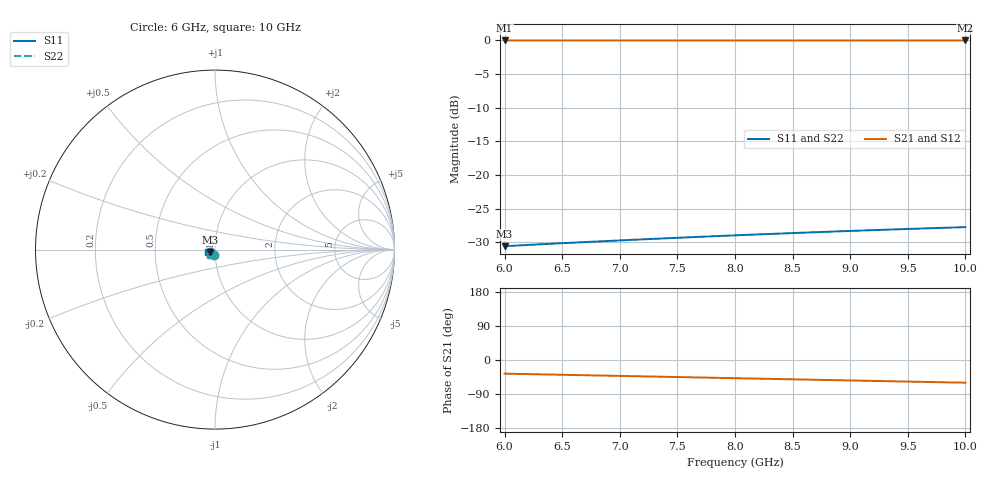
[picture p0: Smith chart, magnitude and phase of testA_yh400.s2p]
! Touchstone file exported from HFSS 2024.2.0
!  File:  C:/Users/artho/Documents/Ansoft/ansys_testA.aedt
!  Generated:  01:04:51 AM Sep  7, 2026
!  Design:  HFSS_9FI
!  Project:  ansys_testA
!  Setup:  Setup1
!  Solution:  Sweep1
!Data is not renormalized
# GHz S MA
! Terminal data exported
! Port[1] = p1
! Port[2] = p2
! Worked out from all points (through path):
!   41 points, 6 GHz to 10 GHz, reference per port
!   highest |S21| = 0.00 dB at 6 GHz (marker M1); lowest = 0.0 dB at 10 GHz (marker M2)
!   group delay of S21, straight-line fit = 16.7 ps
!   lowest |S11| = -30.6 dB at 6 GHz (marker M3), VSWR 1.06
!   |S11| at or under -10 dB: start of sweep to end of sweep
!   |S22| runs from -30.6 to -27.7 dB; largest |S21 - S12| = 1.7e-14
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6  0.02964 -153.3  0.9996 -36.0  0.9996 -36.0  0.02964 -98.7
6.1  0.02995 -153.4  0.9996 -36.6  0.9996 -36.6  0.02995 -99.8
6.3  0.03057 -153.6  0.9995 -37.8  0.9995 -37.8  0.03057 -102.0
6.5  0.03118 -153.9  0.9995 -39.0  0.9995 -39.0  0.03118 -104.1
6.7  0.0318 -154.2  0.9995 -40.2  0.9995 -40.2  0.0318 -106.2
7  0.03271 -154.7  0.9995 -42.0  0.9995 -42.0  0.03271 -109.3
7.2  0.03331 -155.0  0.9994 -43.2  0.9994 -43.2  0.03331 -111.3
7.4  0.03391 -155.5  0.9994 -44.4  0.9994 -44.4  0.03391 -113.3
7.7  0.03479 -156.1  0.9994 -46.2  0.9994 -46.2  0.03479 -116.3
8  0.03567 -156.8  0.9994 -48.0  0.9994 -48.0  0.03567 -119.1
8.2  0.03624 -157.3  0.9993 -49.2  0.9993 -49.2  0.03624 -121.0
8.4  0.03681 -157.8  0.9993 -50.4  0.9993 -50.4  0.03681 -122.9
8.6  0.03737 -158.4  0.9993 -51.6  0.9993 -51.6  0.03737 -124.8
8.7  0.03765 -158.7  0.9993 -52.2  0.9993 -52.2  0.03765 -125.7
8.9  0.03819 -159.2  0.9993 -53.4  0.9993 -53.4  0.03819 -127.5
9.1  0.03873 -159.8  0.9992 -54.6  0.9992 -54.6  0.03873 -129.3
9.3  0.03926 -160.4  0.9992 -55.8  0.9992 -55.8  0.03926 -131.1
9.4  0.03953 -160.7  0.9992 -56.4  0.9992 -56.4  0.03953 -132.0
9.6  0.04005 -161.4  0.9992 -57.6  0.9992 -57.6  0.04005 -133.8
9.7  0.0403 -161.7  0.9992 -58.2  0.9992 -58.2  0.0403 -134.7
9.9  0.0408 -162.3  0.9992 -59.4  0.9992 -59.4  0.0408 -136.4
10  0.04105 -162.6  0.9992 -60.0  0.9992 -60.0  0.04105 -137.3
